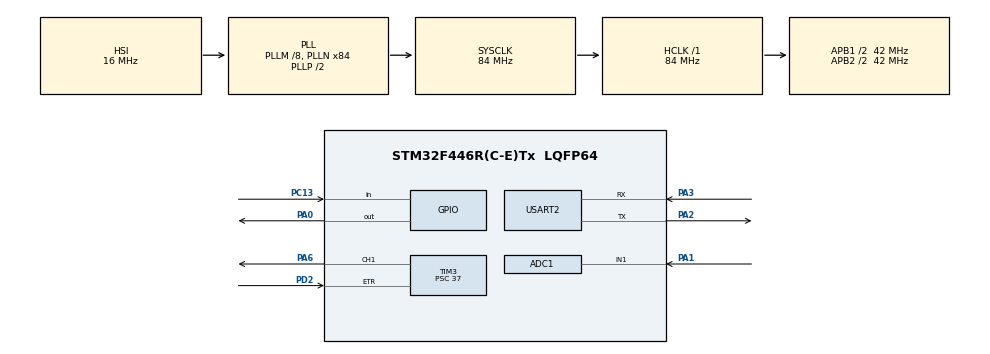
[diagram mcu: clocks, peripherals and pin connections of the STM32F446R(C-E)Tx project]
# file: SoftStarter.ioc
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ADC1.Channel-0\#ChannelRegularConversion=ADC_CHANNEL_1
ADC1.NbrOfConversionFlag=1
ADC1.Rank-0\#ChannelRegularConversion=1
ADC1.SamplingTime-0\#ChannelRegularConversion=ADC_SAMPLETIME_3CYCLES
ADC1.master=1
Mcu.Family=STM32F4
Mcu.Name=STM32F446R(C-E)Tx
Mcu.Package=LQFP64
NVIC.ADC_IRQn=true\:0\:2\:true\:false\:true\:true\:true\:true
NVIC.PriorityGroup=NVIC_PRIORITYGROUP_0
NVIC.TIM1_UP_TIM10_IRQn=true\:0\:0\:false\:false\:true\:true\:true\:true
NVIC.TIM2_IRQn=true\:0\:0\:false\:false\:true\:true\:true\:true
NVIC.TIM3_IRQn=true\:0\:0\:false\:false\:true\:true\:true\:true
NVIC.USART2_IRQn=true\:0\:1\:false\:false\:true\:true\:true\:true
PA0-WKUP.Signal=GPIO_Output
PA1.Signal=ADCx_IN1
PA2.Mode=Asynchronous
PA2.Signal=USART2_TX
PA3.Mode=Asynchronous
PA3.Signal=USART2_RX
PA6.Signal=S_TIM3_CH1
PC13.GPIO_PuPd=GPIO_PULLDOWN
PC13.Signal=GPIO_Input
PD2.GPIO_PuPd=GPIO_PULLDOWN
PD2.Signal=S_TIM3_ETR
ProjectManager.HeapSize=0x200
ProjectManager.StackSize=0x400
ProjectManager.TargetToolchain=STM32CubeIDE
RCC.AHBFreq_Value=84000000
RCC.APB1CLKDivider=RCC_HCLK_DIV2
RCC.APB1Freq_Value=42000000
RCC.APB1TimFreq_Value=84000000
RCC.APB2CLKDivider=RCC_HCLK_DIV2
RCC.APB2Freq_Value=42000000
RCC.APB2TimFreq_Value=84000000
RCC.CortexFreq_Value=84000000
RCC.FLatency-AdvancedSettings=FLASH_LATENCY_2
RCC.HCLKFreq_Value=84000000
RCC.HSE_VALUE=8000000
RCC.HSI_VALUE=16000000
RCC.LSE_VALUE=32768
RCC.PLLM=8
RCC.PLLN=84
RCC.SYSCLKFreq_VALUE=84000000
RCC.SYSCLKSource=RCC_SYSCLKSOURCE_PLLCLK
RCC.USBFreq_Value=84000000
RCC.VCOOutputFreq_Value=168000000
SH.ADCx_IN1.0=ADC1_IN1,IN1
SH.S_TIM3_CH1.0=TIM3_CH1,Output Compare1 CH1
SH.S_TIM3_ETR.0=TIM3_ETR,TriggerSource_ETR
TIM10.Period=999
TIM10.Prescaler=8399
TIM2.Period=83999
TIM2.Prescaler=125
TIM3.AutoReloadPreload=TIM_AUTORELOAD_PRELOAD_ENABLE
TIM3.Channel-Output\ Compare1\ CH1=TIM_CHANNEL_1
TIM3.OCMode_1=TIM_OCMODE_TOGGLE
TIM3.OCPolarity_1=TIM_OCPOLARITY_HIGH
TIM3.Period=17999
TIM3.Prescaler=37
TIM3.Pulse-Output\ Compare1\ CH1=17400
USART2.VirtualMode=VM_ASYNC
VP_TIM10_VS_ClockSourceINT.Mode=Enable_Timer
VP_TIM2_VS_ClockSourceINT.Mode=Internal
VP_TIM3_VS_ClockSourceINT.Mode=Internal
VP_TIM3_VS_ControllerModeTrigger.Mode=Trigger Mode
VP_TIM3_VS_OPM.Mode=OPM_bit
board=NUCLEO-F446RE

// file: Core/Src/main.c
/* USER CODE BEGIN Header */
/*
 * Código do Soft-Starter totalmente controlado de microcontrolador
 * Alunos: Augusto Sturm, Stephanie Staub e Weligton Weiss
 * Turma 4411
 * Existem algumas redundâncias no código para garantir o funcionamento e impedir que algo que não deveria acontecer ->
 * aconteça durante o funcionamento do motor
 */
/**
 ******************************************************************************
 * @file           : main.c
 * @brief          : Main program body
 ******************************************************************************
 * @attention
 *
 * Copyright (c) 2022 STMicroelectronics.
 * All rights reserved.
 *
 * This software is licensed under terms that can be found in the LICENSE file
 * in the root directory of this software component.
 * If no LICENSE file comes with this software, it is provided AS-IS.
 *
 ******************************************************************************
 */
/* USER CODE END Header */
#include "main.h"
#include "adc.h"
#include "tim.h"
#include "usart.h"
#include "gpio.h"

/* USER CODE BEGIN Includes */
#include "string.h"
#include "stdio.h"
/* USER CODE END Includes */

/* USER CODE BEGIN PD */

// Constantes do programa
#define TMAX 10
#define TIMEOUT 1000
#define NOMINAL 450
#define ESCALA 0.80566
/* USER CODE END PD */

/* USER CODE BEGIN PV */
typedef enum{SOBE=0,DESCE} bordas_t;
typedef enum{PARADO=0,SUBIDA, DESCIDA, BYPASS} rampa_t;	// Estados do motor
uint16_t tpulso[2] = {17400,17940}; // Variável usada para redefinir o CCR do OC
uint16_t ANGULOSLista[] = {	17400,	// Lista de angulos calculada a partir de um script feito em python para ir encrementando a tensão no motor linearmente
		17000,
		16500,
		16172,
		15403,
		14805,
		14294,
		13838,
		13419,
		13028,
		12659,
		12307,
		11968,
		11640,
		11321,
		11010,
		10705,
		10405,
		10108,
		9815,
		9523,
		9233,
		8944,
		8655,
		8364,
		8072,
		7778,
		7480,
		7178,
		6871,
		6557,
		6235,
		5903,
		5559,
		5200,
		4823,
		4423,
		3991,
		3516,
		2977,
		2329,
		1300};

rampa_t rampa=PARADO;
bordas_t borda;
uint8_t i = 0; // variavel de contagem
char msg[TMAX] = "\0";
uint8_t proto[4];
float ang = 0, sobrelimite = 1.5, correntedesliga = 2;
float partida = 5, desliga = 5, ADvalue, corrente;
/* USER CODE END PV */

void SystemClock_Config(void);

int main(void)
{

	/* MCU Configuration--------------------------------------------------------*/

	/* Reset of all peripherals, Initializes the Flash interface and the Systick. */
	HAL_Init();

	/* Configure the system clock */
	SystemClock_Config();

	/* Initialize all configured peripherals */
	MX_GPIO_Init();
	MX_TIM3_Init();
	MX_USART2_UART_Init();
	MX_TIM2_Init();
	MX_ADC1_Init();
	MX_TIM10_Init();
	/* USER CODE BEGIN 2 */
	htim3.Instance->CCMR1 |= TIM_CCMR1_OC1CE;
	HAL_UART_Receive_IT(&huart2, proto, 4);
	HAL_TIM_Base_Start_IT(&htim2);
	HAL_TIM_Base_Start_IT(&htim10);
	/* USER CODE END 2 */

	/* Infinite loop */
	while (1)
	{

	}
}

void SystemClock_Config(void)
{
	RCC_OscInitTypeDef RCC_OscInitStruct = {0};
	RCC_ClkInitTypeDef RCC_ClkInitStruct = {0};

	/** Configure the main internal regulator output voltage
	 */
	__HAL_RCC_PWR_CLK_ENABLE();
	__HAL_PWR_VOLTAGESCALING_CONFIG(PWR_REGULATOR_VOLTAGE_SCALE3);

	/** Initializes the RCC Oscillators according to the specified parameters
	 * in the RCC_OscInitTypeDef structure.
	 */
	RCC_OscInitStruct.OscillatorType = RCC_OSCILLATORTYPE_HSI;
	RCC_OscInitStruct.HSIState = RCC_HSI_ON;
	RCC_OscInitStruct.HSICalibrationValue = RCC_HSICALIBRATION_DEFAULT;
	RCC_OscInitStruct.PLL.PLLState = RCC_PLL_ON;
	RCC_OscInitStruct.PLL.PLLSource = RCC_PLLSOURCE_HSI;
	RCC_OscInitStruct.PLL.PLLM = 8;
	RCC_OscInitStruct.PLL.PLLN = 84;
	RCC_OscInitStruct.PLL.PLLP = RCC_PLLP_DIV2;
	RCC_OscInitStruct.PLL.PLLQ = 2;
	RCC_OscInitStruct.PLL.PLLR = 2;
	if (HAL_RCC_OscConfig(&RCC_OscInitStruct) != HAL_OK)
	{
		Error_Handler();
	}

	/** Initializes the CPU, AHB and APB buses clocks
	 */
	RCC_ClkInitStruct.ClockType = RCC_CLOCKTYPE_HCLK|RCC_CLOCKTYPE_SYSCLK
			|RCC_CLOCKTYPE_PCLK1|RCC_CLOCKTYPE_PCLK2;
	RCC_ClkInitStruct.SYSCLKSource = RCC_SYSCLKSOURCE_PLLCLK;
	RCC_ClkInitStruct.AHBCLKDivider = RCC_SYSCLK_DIV1;
	RCC_ClkInitStruct.APB1CLKDivider = RCC_HCLK_DIV2;
	RCC_ClkInitStruct.APB2CLKDivider = RCC_HCLK_DIV2;

	if (HAL_RCC_ClockConfig(&RCC_ClkInitStruct, FLASH_LATENCY_2) != HAL_OK)
	{
		Error_Handler();
	}
}

/* USER CODE BEGIN 4 */

void HAL_TIM_OC_DelayElapsedCallback(TIM_HandleTypeDef *htim)
{
	if(htim->Channel==HAL_TIM_ACTIVE_CHANNEL_1){
		__HAL_TIM_SET_COMPARE(&htim3, TIM_CHANNEL_1, tpulso[borda]);
		if(borda==DESCE){
			borda=SOBE;
		}
		else{
			borda=DESCE;
		}
	}
}

void HAL_TIM_PeriodElapsedCallback(TIM_HandleTypeDef *htim){
	if(htim->Instance == TIM2){
		if(rampa==SUBIDA){
			if(i<=41){
				tpulso[0]=ANGULOSLista[i];
				tpulso[1]=tpulso[0]+540;
				if(i==41){ // Se i está no valor máximo de contagem
					rampa=BYPASS; // Redefine o estado do motor
					htim3.Instance->CCMR1 &=~ TIM_CCMR1_OC1CE; // Reseta o registrador do clear enable
					HAL_GPIO_WritePin(GPIOA, GPIO_PIN_0, 1); // Aciona o relé de bypass
					return;
				}
				if(corrente<(NOMINAL*sobrelimite)){ // Só permite decrementar o angulo caso a corrente esteja abaixo do valor de sobrecorrente
					i++;
				}else{
					strcpy(msg, "SCR\n"); // Envia para o monitor que a sobrecorrente foi atingida para ele exibir uma notificação
					HAL_UART_Transmit(&huart2, (uint8_t*)msg, strlen(msg), TIMEOUT);
				}
			}
			strcpy(msg, "RDS\n"); // Envia para o monitor o estado do motor - Rampa de subida
			HAL_UART_Transmit(&huart2, (uint8_t*)msg, strlen(msg), TIMEOUT);
		}
		else if(rampa==DESCIDA){
			if(i>=0){
				tpulso[0]=ANGULOSLista[i];
				tpulso[1]=tpulso[0]+540; // Acrescenta 540 do ARR no CCR para definir a borda de descida do pulso
				if(i==0){ // Se i está no valor minimo de contagem
					rampa=PARADO; // Redefine o estado do motor
					HAL_TIM_OC_Stop_IT(&htim3, TIM_CHANNEL_1); // Desliga o OC
					htim3.Instance->CCMR1 |= TIM_CCMR1_OC1CE; // Seta o registrador do clear enable
					return;
				}
				i--;
			}
			strcpy(msg, "RDD\n"); // Envia para o monitor o estado do motor - Rampa de descida
			HAL_UART_Transmit(&huart2, (uint8_t*)msg, strlen(msg), TIMEOUT);
		}
		else if(rampa==PARADO){
			i=0;
			tpulso[0]=ANGULOSLista[i];
			tpulso[1]=tpulso[0]+540; // Acrescenta 540 do ARR no CCR para definir a borda de descida do pulso
			HAL_TIM_OC_Stop_IT(&htim3, TIM_CHANNEL_1); // Desliga o OC
			HAL_GPIO_WritePin(GPIOA, GPIO_PIN_0, 0); // Desaciona o relé
			htim3.Instance->CCMR1 |= TIM_CCMR1_OC1CE; // Seta o registrador do clear enable
			strcpy(msg, "OFF\n"); // Envia para o monitor o estado do motor - parado
			HAL_UART_Transmit(&huart2, (uint8_t*)msg, strlen(msg), TIMEOUT);
		}
		else if(rampa==BYPASS){
			htim3.Instance->CCMR1 &=~ TIM_CCMR1_OC1CE; // Reseta o registrador do clear enable
			HAL_GPIO_WritePin(GPIOA, GPIO_PIN_0, 1); // Aciona o relé
			strcpy(msg, "ON\n"); // Envia para o monitor o estado do motor - na rede
			HAL_UART_Transmit(&huart2, (uint8_t*)msg, strlen(msg), TIMEOUT);
		}
	}
	else if(htim->Instance == TIM10){
		HAL_ADC_Start_IT(&hadc1);
		if(rampa==SUBIDA || rampa==DESCIDA){
			ang=ANGULOSLista[i]/100;
			sprintf(msg, "%.0f\n", ang);
		}
		else{
			if(rampa == PARADO){
				ang = 180;
				sprintf(msg, "%.0f\n", ang);
			}
			else{
				ang = 0;
				sprintf(msg, "%.0f\n", ang);
			}
		}
		HAL_UART_Transmit(&huart2, (uint8_t*)msg, strlen(msg), TIMEOUT);
	}
}
void HAL_UART_RxCpltCallback(UART_HandleTypeDef *huart){
	// Analizando agora, poderia ter sido feito um switch case no lugar de vários if's
	if(proto[0] == 'd'){ // Rampa de descida
		desliga = (proto[1]-'0')*10+(proto[2]-'0'); // Pega os valores definidos como tempo de desligamento
	}
	else if(proto[0] == 'l'){ // Rampa de subida
		partida = (proto[1]-'0')*10+(proto[2]-'0'); // Pega os valores definidos como tempo de partida
	}
	else if(proto[0] == 's'){ // Sobrecorrente limite
		sobrelimite = (proto[1]-'0')*100+(proto[2]-'0')*10+(proto[3]-'0'); // pega os valores de sobrecorrente
		sobrelimite = sobrelimite/100;									   // valor de sobrecorrente em %
	}
	else if(proto[0] == 'c'){ // Corrente de desligamento
		correntedesliga = ((proto[1]-'0')*100+(proto[2]-'0')*10+(proto[3]-'0')); // pega os valores de corrente de desligamento
		correntedesliga = correntedesliga/100;									 // valor de corrente de desligamento em %
	}
	else if(proto[0] == 'L'){ // Botao de liga
		rampa=SUBIDA;
		HAL_TIM_OC_Start_IT(&htim3, TIM_CHANNEL_1); // liga os pulsos
		__HAL_TIM_SET_PRESCALER(&htim2, partida/0.042); // Seta o tempo que o angulo de disparo vai ser alterado no upddate do tim2 acordo com o tempo definido no slider
	}
	else if(proto[0] == 'D'){ // Botao de desliga
		HAL_GPIO_WritePin(GPIOA, GPIO_PIN_0, 0); // Desaciona o relé
		rampa=DESCIDA; //
		__HAL_TIM_SET_PRESCALER(&htim2, desliga/0.042); // Seta o tempo que o angulo de disparo vai ser alterado no upddate do tim2 acordo com o tempo definido no slider
	}
	else if(proto[0]== 'E'){ // Botao de emergencia
		HAL_TIM_OC_Stop_IT(&htim3, TIM_CHANNEL_1); // Desliga o OC
		i=0; // Zera a contagem
		HAL_GPIO_WritePin(GPIOA, GPIO_PIN_0, 0); // Desaciona o relé
		htim3.Instance->CCMR1 |= TIM_CCMR1_OC1CE; // Seta o registrador do clear enable
		rampa=PARADO; // Redefine o estado do motor
	}

	HAL_UART_Receive_IT(&huart2, proto, 4);

}

void HAL_ADC_ConvCpltCallback(ADC_HandleTypeDef* hadc){
	ADvalue = HAL_ADC_GetValue(&hadc1);
	corrente = (ADvalue*ESCALA)*0.7 + corrente*0.3; // Faz uma média, atualizando com 70% do valor atual do adc e mantendo 30% do valor anterior
	sprintf(msg,"%-.2f mA\n", corrente); // Envia a corrente para o monitor para ser exibido na ihm
	HAL_UART_Transmit(&huart2, (uint8_t*)msg, strlen(msg), TIMEOUT);
	if(corrente>(NOMINAL*correntedesliga) && (rampa == SUBIDA || rampa == BYPASS)){ // Se atingiu a corrente de desligamento enquanto estava acelerando ou na rede
		HAL_TIM_OC_Stop_IT(&htim3, TIM_CHANNEL_1); // Desliga o OC
		htim3.Instance->CCMR1 |= TIM_CCMR1_OC1CE; // Seta o registrador do clear enable
		HAL_GPIO_WritePin(GPIOA, GPIO_PIN_0, 0); // Desaciona o relé
		rampa=PARADO; // Redefine o estado do motor
		i=0; // Zera a contagem
		strcpy(msg, "CDG\n"); // Envia para o monitor que a corrente de desligamento foi atingida para ele exibir uma notificação
		HAL_UART_Transmit(&huart2, (uint8_t*)msg, strlen(msg), TIMEOUT);
	}
}

/* USER CODE END 4 */

void Error_Handler(void)
{
	__disable_irq();
	while (1)
	{
	}
}
